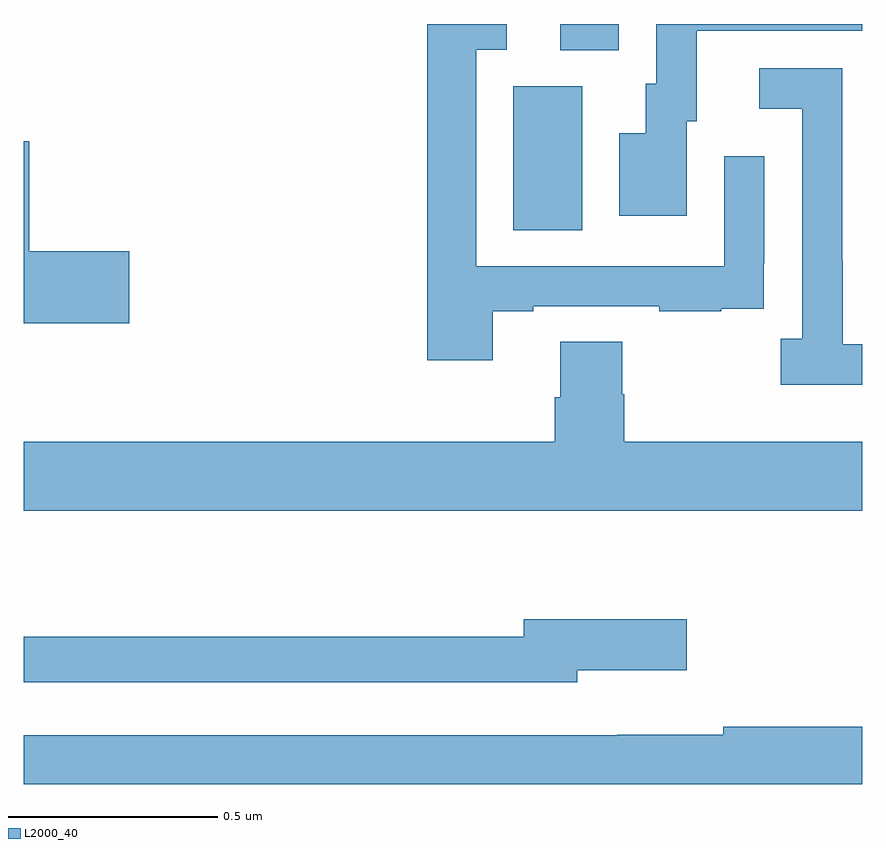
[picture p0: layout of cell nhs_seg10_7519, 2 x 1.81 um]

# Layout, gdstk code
import gdstk
lib = gdstk.Library(unit=1e-6, precision=1e-09)
def R(c, l, rs):  # rectangles x0, y0, x1, y1
    for r in rs: c.add(gdstk.rectangle(r[:2], r[2:], *l))
def P(c, l, *ps):  # polygons
    for p in ps: c.add(gdstk.Polygon(p, *l))
L2000_40 = (2000, 40)

nhs_seg10_7519 = lib.new_cell('nhs_seg10_7519')
R(nhs_seg10_7519, L2000_40, [(206.168,1277.008,206.332,1277.352), (206.279,1277.437,206.419,1277.5)])
P(nhs_seg10_7519, L2000_40, [(206.581,1277.268),(206.605,1277.268),(206.605,1277.484),(207,1277.484),(207,1277.5),(206.508,1277.5),(206.508,1277.358),(206.483,1277.358),(206.483,1277.239),(206.42,1277.239),(206.42,1277.043),(206.581,1277.043)],
  [(206.119,1276.815),(206.215,1276.815),(206.215,1276.827),(206.515,1276.827),(206.515,1276.815),(206.663,1276.815),(206.663,1276.821),(206.765,1276.821),(206.765,1276.93),(206.766,1276.93),(206.766,1277.185),(206.67,1277.185),(206.67,1276.923),(206.079,1276.923),(206.079,1277.439),(206.152,1277.439),(206.152,1277.5),(205.963,1277.5),(205.963,1276.698),(206.119,1276.698)],
  [(207,1276.737),(206.953,1276.737),(206.953,1276.937),(206.952,1276.937),(206.952,1277.394),(206.754,1277.394),(206.754,1277.298),(206.856,1277.298),(206.856,1276.75),(206.805,1276.75),(206.805,1276.64),(207,1276.64)],
  [(205.252,1276.958),(205.013,1276.958),(205.013,1277.221),(205,1277.221),(205,1276.787),(205.252,1276.787)],
  [(207,1276.504),(206.432,1276.504),(206.432,1276.617),(206.427,1276.617),(206.427,1276.742),(206.279,1276.742),(206.279,1276.61),(206.267,1276.61),(206.267,1276.504),(205,1276.504),(205,1276.34),(207,1276.34)],
  [(206.32,1275.959),(206.581,1275.959),(206.581,1276.081),(206.192,1276.081),(206.192,1276.039),(205,1276.039),(205,1275.93),(206.32,1275.93)],
  [(207,1275.824),(206.668,1275.824),(206.668,1275.805),(206.416,1275.805),(206.416,1275.804),(205,1275.804),(205,1275.688),(207,1275.688)])

lib.write_gds('nhs_seg10_7519.gds')
